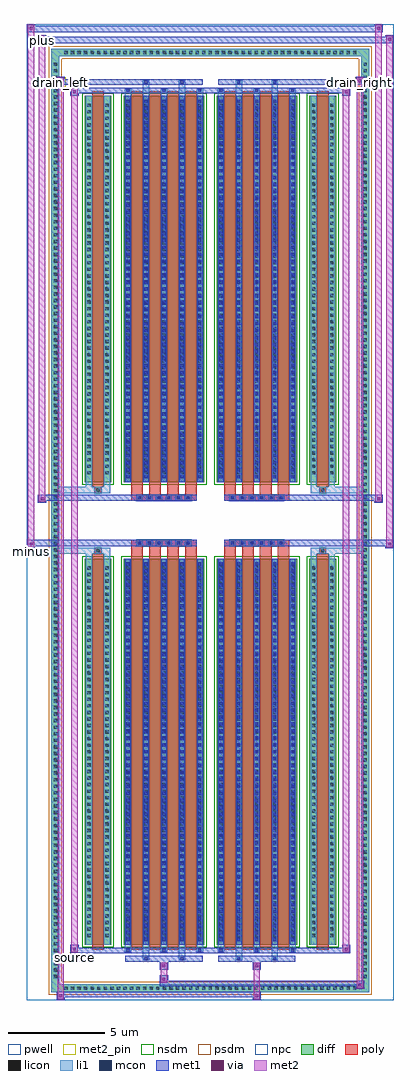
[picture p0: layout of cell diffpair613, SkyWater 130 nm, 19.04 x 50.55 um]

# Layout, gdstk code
import gdstk
lib = gdstk.Library(unit=1e-6, precision=5e-09)
def R(c, l, rs):  # rectangles x0, y0, x1, y1
    for r in rs: c.add(gdstk.rectangle(r[:2], r[2:], *l))
def A(c, l, x, y, w, h, nx, ny, dx, dy):  # array of equal rectangles
    R(c, l, [(x+i*dx, y+j*dy, x+i*dx+w, y+j*dy+h) for i in range(nx) for j in range(ny)])
def P(c, l, *ps):  # polygons
    for p in ps: c.add(gdstk.Polygon(p, *l))
pwell = (64, 44)
diff = (65, 20)
poly = (66, 20)
licon = (66, 44)
li1 = (67, 20)
mcon = (67, 44)
met1 = (68, 20)
via = (68, 44)
met2_pin = (69, 16)
met2 = (69, 20)
nsdm = (93, 44)
psdm = (94, 20)
npc = (95, 20)

diffpair613 = lib.new_cell('diffpair613')
R(diffpair613, pwell, [(-9.5,-24.84,9.5,25.71), (-6.82,-23.03,-0.01,-0.805), (0.01,-23.03,6.82,-0.805), (-6.82,0.805,-0.01,23.03), (0.01,0.805,6.82,23.03)])
A(diffpair613, diff, -7.685, -24.44, 0.41, 0.41, 45, 2, 0.34, 48.47)
A(diffpair613, diff, -8.23, -23.835, 0.41, 0.41, 1, 140, 0, 0.34)
A(diffpair613, diff, 7.82, -23.835, 0.41, 0.41, 1, 140, 0, 0.34)
R(diffpair613, diff, [(-7.685,-24.44,7.685,-24.03), (-8.23,-23.835,-7.82,23.835), (7.82,-23.835,8.23,23.835), (-6.51,-21.985,-5.13,-1.985), (-4.49,-21.985,-0.32,-1.985), (0.32,-21.985,4.49,-1.985), (5.13,-21.985,6.51,-1.985), (-6.51,1.985,-5.13,21.985), (-4.49,1.985,-0.32,21.985), (0.32,1.985,4.49,21.985), (5.13,1.985,6.51,21.985), (-7.685,24.03,7.685,24.44)])
P(diffpair613, diff, [(8.23,24.44),(-8.23,24.44),(-8.23,-24.03),(-7.82,-24.03),(-7.82,24.03),(7.82,24.03),(7.82,-24.03),(-7.82,-24.03),(-8.23,-24.03),(-8.23,-24.44),(8.23,-24.44)])
A(diffpair613, poly, -4.1, -22.235, 0.6, 20.5, 4, 2, 0.93, 23.97)
A(diffpair613, poly, 0.71, -22.235, 0.6, 20.5, 4, 2, 0.93, 23.97)
A(diffpair613, poly, -4.1, -1.735, 0.6, 0.4, 4, 2, 0.93, 3.07)
A(diffpair613, poly, 0.71, -1.735, 0.6, 0.4, 4, 2, 0.93, 3.07)
A(diffpair613, poly, -3.82, -1.335, 0.33, 0.33, 6, 2, 0.5, 2.34)
A(diffpair613, poly, 0.99, -1.335, 0.33, 0.33, 6, 2, 0.5, 2.34)
R(diffpair613, poly, [(-6.12,-22.235,-5.52,-1.735), (5.52,-22.235,6.12,-1.735), (-5.985,-1.735,-5.655,-1.405), (-5.985,-1.735,-5.655,-1.405), (5.655,-1.735,5.985,-1.405), (5.655,-1.735,5.985,-1.405), (-4.1,-1.335,-0.71,-1.005), (0.71,-1.335,4.1,-1.005), (-4.1,1.005,-0.71,1.335), (0.71,1.005,4.1,1.335), (-5.985,1.405,-5.655,1.735), (-5.985,1.405,-5.655,1.735), (5.655,1.405,5.985,1.735), (5.655,1.405,5.985,1.735), (-6.12,1.735,-5.52,22.235), (5.52,1.735,6.12,22.235)])
A(diffpair613, licon, -7.565, -24.32, 0.17, 0.17, 45, 2, 0.34, 48.47)
A(diffpair613, licon, -8.11, -23.715, 0.17, 0.17, 1, 140, 0, 0.34)
A(diffpair613, licon, 7.94, -23.715, 0.17, 0.17, 1, 140, 0, 0.34)
A(diffpair613, licon, -6.37, -21.59, 0.17, 0.17, 1, 57, 0, 0.34)
A(diffpair613, licon, -5.44, -21.59, 0.17, 0.17, 1, 57, 0, 0.34)
A(diffpair613, licon, -4.35, -21.59, 0.17, 0.17, 5, 57, 0.93, 0.34)
A(diffpair613, licon, 0.46, -21.59, 0.17, 0.17, 5, 57, 0.93, 0.34)
A(diffpair613, licon, 5.27, -21.59, 0.17, 0.17, 1, 57, 0, 0.34)
A(diffpair613, licon, 6.2, -21.59, 0.17, 0.17, 1, 57, 0, 0.34)
A(diffpair613, licon, -3.74, -1.255, 0.17, 0.17, 6, 2, 0.5, 2.34)
A(diffpair613, licon, 1.07, -1.255, 0.17, 0.17, 6, 2, 0.5, 2.34)
A(diffpair613, licon, -6.37, 2.38, 0.17, 0.17, 1, 57, 0, 0.34)
A(diffpair613, licon, -5.44, 2.38, 0.17, 0.17, 1, 57, 0, 0.34)
A(diffpair613, licon, -4.35, 2.38, 0.17, 0.17, 5, 57, 0.93, 0.34)
A(diffpair613, licon, 0.46, 2.38, 0.17, 0.17, 5, 57, 0.93, 0.34)
A(diffpair613, licon, 5.27, 2.38, 0.17, 0.17, 1, 57, 0, 0.34)
A(diffpair613, licon, 6.2, 2.38, 0.17, 0.17, 1, 57, 0, 0.34)
R(diffpair613, licon, [(-5.905,-1.655,-5.735,-1.485), (5.735,-1.655,5.905,-1.485), (-5.905,1.485,-5.735,1.655), (5.735,1.485,5.905,1.655)])
A(diffpair613, li1, -7.645, -24.4, 0.33, 0.33, 45, 2, 0.34, 48.47)
A(diffpair613, li1, -8.19, -23.795, 0.33, 0.33, 1, 140, 0, 0.34)
A(diffpair613, li1, 7.86, -23.795, 0.33, 0.33, 1, 140, 0, 0.34)
A(diffpair613, li1, -4.43, -22.36, 0.33, 0.375, 3, 2, 1.86, 44.345)
A(diffpair613, li1, -4.35, -22.36, 0.17, 0.17, 3, 2, 1.86, 44.55)
A(diffpair613, li1, 0.38, -22.36, 0.33, 0.375, 3, 2, 1.86, 44.345)
A(diffpair613, li1, 0.46, -22.36, 0.17, 0.17, 3, 2, 1.86, 44.55)
A(diffpair613, li1, -4.43, -21.985, 0.33, 20, 5, 2, 0.93, 23.97)
A(diffpair613, li1, 0.38, -21.985, 0.33, 20, 5, 2, 0.93, 23.97)
A(diffpair613, li1, -4.35, -21.79, 0.17, 0.17, 5, 55, 0.93, 0.36)
A(diffpair613, li1, -4.35, -21.79, 0.17, 19.61, 5, 2, 0.93, 23.97)
A(diffpair613, li1, 0.46, -21.79, 0.17, 0.17, 5, 55, 0.93, 0.36)
A(diffpair613, li1, 0.46, -21.79, 0.17, 19.61, 5, 2, 0.93, 23.97)
A(diffpair613, li1, -6.45, -21.67, 0.33, 0.33, 1, 57, 0, 0.34)
A(diffpair613, li1, -5.52, -21.67, 0.33, 0.33, 1, 57, 0, 0.34)
A(diffpair613, li1, -4.43, -21.67, 0.33, 0.33, 5, 57, 0.93, 0.34)
A(diffpair613, li1, 0.38, -21.67, 0.33, 0.33, 5, 57, 0.93, 0.34)
A(diffpair613, li1, 5.19, -21.67, 0.33, 0.33, 1, 57, 0, 0.34)
A(diffpair613, li1, 6.12, -21.67, 0.33, 0.33, 1, 57, 0, 0.34)
A(diffpair613, li1, -3.82, -1.335, 0.33, 0.33, 6, 2, 0.5, 2.34)
A(diffpair613, li1, 0.99, -1.335, 0.33, 0.33, 6, 2, 0.5, 2.34)
A(diffpair613, li1, -4.35, 2.18, 0.17, 0.17, 5, 55, 0.93, 0.36)
A(diffpair613, li1, 0.46, 2.18, 0.17, 0.17, 5, 55, 0.93, 0.36)
A(diffpair613, li1, -6.45, 2.3, 0.33, 0.33, 1, 57, 0, 0.34)
A(diffpair613, li1, -5.52, 2.3, 0.33, 0.33, 1, 57, 0, 0.34)
A(diffpair613, li1, -4.43, 2.3, 0.33, 0.33, 5, 57, 0.93, 0.34)
A(diffpair613, li1, 0.38, 2.3, 0.33, 0.33, 5, 57, 0.93, 0.34)
A(diffpair613, li1, 5.19, 2.3, 0.33, 0.33, 1, 57, 0, 0.34)
A(diffpair613, li1, 6.12, 2.3, 0.33, 0.33, 1, 57, 0, 0.34)
R(diffpair613, li1, [(-8.23,-24.44,-7.82,-24.03), (-8.23,-24.44,-7.82,-24.03), (-7.82,-24.44,7.82,-24.03), (7.82,-24.44,8.23,-24.03), (7.82,-24.44,8.23,-24.03), (-8.23,-24.03,-7.82,24.03), (7.82,-24.03,8.23,24.03), (-3.5,-22.79,-3.17,-21.985), (-3.42,-22.79,-3.25,-22.62), (-1.64,-22.79,-1.31,-21.985), (-1.56,-22.79,-1.39,-22.62), (1.31,-22.79,1.64,-21.985), (1.39,-22.79,1.56,-22.62), (3.17,-22.79,3.5,-21.985), (3.25,-22.79,3.42,-22.62), (-6.45,-21.985,-6.12,-1.985), (-5.52,-21.985,-5.19,-1.985), (5.19,-21.985,5.52,-1.985), (6.12,-21.985,6.45,-1.985), (-6.45,-1.985,-6.12,-1.405), (-5.52,-1.985,-5.19,-1.405), (5.19,-1.985,5.52,-1.405), (6.12,-1.985,6.45,-1.405), (-8.23,-1.735,-5.985,-1.405), (-6.45,-1.735,-5.985,-1.405), (-5.985,-1.735,-5.655,-1.405), (-5.655,-1.735,-5.19,-1.405), (5.19,-1.735,5.655,-1.405), (5.655,-1.735,5.985,-1.405), (5.655,-1.735,8.23,-1.405), (5.985,-1.735,6.45,-1.405), (-8.23,1.405,-5.985,1.735), (-6.45,1.405,-5.985,1.735), (-6.45,1.405,-6.12,1.985), (-5.985,1.405,-5.655,1.735), (-5.655,1.405,-5.19,1.735), (-5.52,1.405,-5.19,1.985), (5.19,1.405,5.655,1.735), (5.19,1.405,5.52,1.985), (5.655,1.405,5.985,1.735), (5.655,1.405,8.23,1.735), (5.985,1.405,6.45,1.735), (6.12,1.405,6.45,1.985), (-6.45,1.985,-6.12,21.985), (-5.52,1.985,-5.19,21.985), (5.19,1.985,5.52,21.985), (6.12,1.985,6.45,21.985), (-3.5,21.985,-3.17,22.79), (-1.64,21.985,-1.31,22.79), (1.31,21.985,1.64,22.79), (3.17,21.985,3.5,22.79), (-3.42,22.62,-3.25,22.79), (-1.56,22.62,-1.39,22.79), (1.39,22.62,1.56,22.79), (3.25,22.62,3.42,22.79), (-8.23,24.03,-7.82,24.44), (-8.23,24.03,-7.82,24.44), (-7.82,24.03,7.82,24.44), (7.82,24.03,8.23,24.44), (7.82,24.03,8.23,24.44)])
A(diffpair613, mcon, -4.35, -22.36, 0.17, 0.17, 3, 2, 1.86, 44.55)
A(diffpair613, mcon, 0.46, -22.36, 0.17, 0.17, 3, 2, 1.86, 44.55)
A(diffpair613, mcon, -4.35, -21.79, 0.17, 0.17, 5, 55, 0.93, 0.36)
A(diffpair613, mcon, 0.46, -21.79, 0.17, 0.17, 5, 55, 0.93, 0.36)
A(diffpair613, mcon, -3.74, -1.255, 0.17, 0.17, 6, 2, 0.5, 2.34)
A(diffpair613, mcon, 1.07, -1.255, 0.17, 0.17, 6, 2, 0.5, 2.34)
A(diffpair613, mcon, -4.35, 2.18, 0.17, 0.17, 5, 55, 0.93, 0.36)
A(diffpair613, mcon, 0.46, 2.18, 0.17, 0.17, 5, 55, 0.93, 0.36)
R(diffpair613, mcon, [(-3.42,-22.79,-3.25,-22.62), (-1.56,-22.79,-1.39,-22.62), (1.39,-22.79,1.56,-22.62), (3.25,-22.79,3.42,-22.62), (-3.42,22.62,-3.25,22.79), (-1.56,22.62,-1.39,22.79), (1.39,22.62,1.56,22.79), (3.25,22.62,3.42,22.79)])
A(diffpair613, met1, -4.41, -22.42, 0.29, 0.29, 3, 2, 1.86, 44.55)
A(diffpair613, met1, 0.4, -22.42, 0.29, 0.29, 3, 2, 1.86, 44.55)
A(diffpair613, met1, -4.41, -21.985, 0.29, 20, 5, 2, 0.93, 23.97)
A(diffpair613, met1, 0.4, -21.985, 0.29, 20, 5, 2, 0.93, 23.97)
A(diffpair613, met1, -4.41, -21.85, 0.29, 0.29, 5, 55, 0.93, 0.36)
A(diffpair613, met1, 0.4, -21.85, 0.29, 0.29, 5, 55, 0.93, 0.36)
A(diffpair613, met1, -3.8, -1.315, 0.29, 0.29, 6, 2, 0.5, 2.34)
A(diffpair613, met1, 1.01, -1.315, 0.29, 0.29, 6, 2, 0.5, 2.34)
A(diffpair613, met1, -4.41, 2.12, 0.29, 0.29, 5, 55, 0.93, 0.36)
A(diffpair613, met1, 0.4, 2.12, 0.29, 0.29, 5, 55, 0.93, 0.36)
R(diffpair613, met1, [(-7.96,-24.84,-7.53,-24.41), (2.19,-24.84,2.62,-24.41), (-7.96,-24.7,2.62,-24.41), (7.53,-24.27,7.96,-23.84), (-2.62,-24.13,7.96,-23.84), (-2.62,-23.99,-2.19,-23.56), (-2.62,-23.28,-2.19,-22.85), (2.19,-23.28,2.62,-22.85), (-4.41,-22.85,-0.4,-22.56), (-3.48,-22.85,-3.19,-22.56), (-1.62,-22.85,-1.33,-22.56), (0.4,-22.85,4.41,-22.56), (1.33,-22.85,1.62,-22.56), (3.19,-22.85,3.48,-22.56), (-7.25,-22.42,-6.82,-21.99), (-7.25,-22.42,-4.41,-22.13), (-4.41,-22.42,-0.4,-22.13), (-0.4,-22.42,0.4,-22.13), (0.4,-22.42,4.41,-22.13), (4.41,-22.42,7.25,-22.13), (6.82,-22.42,7.25,-21.99), (-9.5,-1.435,-9.07,-1.005), (9.07,-1.435,9.5,-1.005), (-9.5,-1.335,-0.71,-1.005), (-4.1,-1.335,-0.71,-1.005), (0.71,-1.335,4.1,-1.005), (0.71,-1.335,9.5,-1.005), (-8.93,0.905,-8.5,1.335), (8.5,0.905,8.93,1.335), (-8.93,1.005,-4.1,1.335), (-4.1,1.005,-0.71,1.335), (0.71,1.005,4.1,1.335), (4.1,1.005,8.93,1.335), (-7.25,21.99,-6.82,22.42), (6.82,21.99,7.25,22.42), (-7.25,22.13,-4.41,22.42), (-4.41,22.13,-0.4,22.42), (-0.4,22.13,0.4,22.42), (0.4,22.13,4.41,22.42), (4.41,22.13,7.25,22.42), (-7.96,22.56,-7.53,22.99), (-7.96,22.56,-4.41,22.85), (-4.41,22.56,-0.4,22.85), (-3.48,22.56,-3.19,22.85), (-1.62,22.56,-1.33,22.85), (0.4,22.56,4.41,22.85), (1.33,22.56,1.62,22.85), (3.19,22.56,3.48,22.85), (4.41,22.56,7.96,22.85), (7.53,22.56,7.96,22.99), (-8.93,24.71,-8.5,25.14), (-8.93,24.71,-6.82,25.04), (-6.82,24.71,6.82,25.04), (6.82,24.71,9.5,25.04), (9.07,24.71,9.5,25.14), (-9.5,25.28,-9.07,25.71), (-9.5,25.28,-6.82,25.61), (-6.82,25.28,6.82,25.61), (6.82,25.28,8.93,25.61), (8.5,25.28,8.93,25.71)])
R(diffpair613, via, [(-7.82,-24.7,-7.67,-24.55), (2.33,-24.7,2.48,-24.55), (7.67,-24.13,7.82,-23.98), (-2.48,-23.85,-2.33,-23.7), (-2.48,-23.14,-2.33,-22.99), (2.33,-23.14,2.48,-22.99), (-7.11,-22.28,-6.96,-22.13), (6.96,-22.28,7.11,-22.13), (-9.36,-1.295,-9.21,-1.145), (9.21,-1.295,9.36,-1.145), (-8.79,1.045,-8.64,1.195), (8.64,1.045,8.79,1.195), (-7.11,22.13,-6.96,22.28), (6.96,22.13,7.11,22.28), (-7.82,22.7,-7.67,22.85), (7.67,22.7,7.82,22.85), (-8.79,24.85,-8.64,25), (9.21,24.85,9.36,25), (-9.36,25.42,-9.21,25.57), (8.64,25.42,8.79,25.57)])
R(diffpair613, met2_pin, [(-7.285,-22.87,-6.785,-22.37), (-9.535,-1.885,-9.035,-1.385), (-7.995,22.44,-7.495,22.94), (7.495,22.44,7.995,22.94), (-8.965,24.59,-8.465,25.09)])
R(diffpair613, met2, [(-7.91,-24.79,-7.58,-24.46), (-7.91,-24.79,-7.58,22.94), (2.24,-24.79,2.57,-24.46), (2.24,-24.46,2.57,-23.23), (7.58,-24.22,7.91,-23.89), (7.58,-24.22,7.91,22.94), (-2.57,-23.94,-2.24,-23.61), (-2.57,-23.61,-2.24,-23.23), (-2.57,-23.23,-2.24,-22.9), (2.24,-23.23,2.57,-22.9), (-7.2,-22.37,-6.87,-22.04), (-7.2,-22.37,-6.87,22.37), (6.87,-22.37,7.2,-22.04), (6.87,-22.37,7.2,22.37), (-9.45,-1.385,-9.12,-1.055), (-9.45,-1.385,-9.12,25.66), (9.12,-1.385,9.45,-1.055), (9.12,-1.385,9.45,25.09), (-8.88,0.955,-8.55,1.285), (-8.88,0.955,-8.55,25.09), (8.55,0.955,8.88,1.285), (8.55,0.955,8.88,25.66), (-7.2,22.04,-6.87,22.37), (6.87,22.04,7.2,22.37), (-7.91,22.61,-7.58,22.94), (7.58,22.61,7.91,22.94), (-8.88,24.76,-8.55,25.09), (9.12,24.76,9.45,25.09), (-9.45,25.33,-9.12,25.66), (8.55,25.33,8.88,25.66)])
P(diffpair613, met2, [(9.45,-1.385),(9.45,-1.385),(9.45,-1.055),(9.45,-1.055)],
  [(9.45,24.76),(9.45,24.76),(9.45,25.09),(9.45,25.09)],
  [(-9.12,-1.385),(-9.12,-1.385),(-9.12,-1.055),(-9.12,-1.055)],
  [(-9.12,25.33),(-9.12,25.33),(-9.12,25.66),(-9.12,25.66)],
  [(8.88,0.955),(8.88,0.955),(8.88,1.285),(8.88,1.285)],
  [(8.88,25.33),(8.88,25.33),(8.88,25.66),(8.88,25.66)],
  [(-8.55,0.955),(-8.55,0.955),(-8.55,1.285),(-8.55,1.285)],
  [(-8.55,24.76),(-8.55,24.76),(-8.55,25.09),(-8.55,25.09)],
  [(-7.58,-24.79),(-7.58,-24.79),(-7.58,-24.46),(-7.58,-24.46)],
  [(-7.58,22.61),(-7.58,22.61),(-7.58,22.94),(-7.58,22.94)],
  [(7.91,-24.22),(7.91,-24.22),(7.91,-23.89),(7.91,-23.89)],
  [(7.91,22.61),(7.91,22.61),(7.91,22.94),(7.91,22.94)],
  [(-6.87,-22.37),(-6.87,-22.37),(-6.87,-22.04),(-6.87,-22.04)],
  [(-6.87,22.04),(-6.87,22.04),(-6.87,22.37),(-6.87,22.37)],
  [(7.2,-22.37),(7.2,-22.37),(7.2,-22.04),(7.2,-22.04)],
  [(7.2,22.04),(7.2,22.04),(7.2,22.37),(7.2,22.37)])
R(diffpair613, nsdm, [(-6.64,-22.115,-5,-1.855), (-4.62,-22.115,-0.19,-1.855), (0.19,-22.115,4.62,-1.855), (5,-22.115,6.64,-1.855), (-6.64,1.855,-5,22.115), (-4.62,1.855,-0.19,22.115), (0.19,1.855,4.62,22.115), (5,1.855,6.64,22.115)])
P(diffpair613, psdm, [(8.36,24.57),(-8.36,24.57),(-8.36,-23.9),(-7.69,-23.9),(-7.69,23.9),(7.69,23.9),(7.69,-23.9),(-7.69,-23.9),(-8.36,-23.9),(-8.36,-24.57),(8.36,-24.57)])
A(diffpair613, npc, -3.84, -1.355, 0.37, 0.37, 6, 2, 0.5, 2.34)
A(diffpair613, npc, 0.97, -1.355, 0.37, 0.37, 6, 2, 0.5, 2.34)
R(diffpair613, npc, [(-6.005,-1.755,-5.635,-1.385), (5.635,-1.755,6.005,-1.385), (-3.84,-1.355,-2.97,-0.985), (-3.84,-1.355,-2.97,-0.985), (-3.34,-1.355,-2.47,-0.985), (-3.34,-1.355,-2.47,-0.985), (-2.84,-1.355,-1.97,-0.985), (-2.84,-1.355,-1.97,-0.985), (-2.34,-1.355,-1.47,-0.985), (-2.34,-1.355,-1.47,-0.985), (-1.84,-1.355,-0.97,-0.985), (-1.84,-1.355,-0.97,-0.985), (0.97,-1.355,1.84,-0.985), (0.97,-1.355,1.84,-0.985), (1.47,-1.355,2.34,-0.985), (1.47,-1.355,2.34,-0.985), (1.97,-1.355,2.84,-0.985), (1.97,-1.355,2.84,-0.985), (2.47,-1.355,3.34,-0.985), (2.47,-1.355,3.34,-0.985), (2.97,-1.355,3.84,-0.985), (2.97,-1.355,3.84,-0.985), (-3.84,0.985,-2.97,1.355), (-3.84,0.985,-2.97,1.355), (-3.34,0.985,-2.47,1.355), (-3.34,0.985,-2.47,1.355), (-2.84,0.985,-1.97,1.355), (-2.84,0.985,-1.97,1.355), (-2.34,0.985,-1.47,1.355), (-2.34,0.985,-1.47,1.355), (-1.84,0.985,-0.97,1.355), (-1.84,0.985,-0.97,1.355), (0.97,0.985,1.84,1.355), (0.97,0.985,1.84,1.355), (1.47,0.985,2.34,1.355), (1.47,0.985,2.34,1.355), (1.97,0.985,2.84,1.355), (1.97,0.985,2.84,1.355), (2.47,0.985,3.34,1.355), (2.47,0.985,3.34,1.355), (2.97,0.985,3.84,1.355), (2.97,0.985,3.84,1.355), (-6.005,1.385,-5.635,1.755), (5.635,1.385,6.005,1.755)])
diffpair613.add(gdstk.Label('minus', (-9.285,-1.635), layer=69, texttype=5))
diffpair613.add(gdstk.Label('drain_right', (7.745,22.69), layer=69, texttype=5))
diffpair613.add(gdstk.Label('drain_left', (-7.745,22.69), layer=69, texttype=5))
diffpair613.add(gdstk.Label('source', (-7.035,-22.62), layer=69, texttype=5))
diffpair613.add(gdstk.Label('plus', (-8.715,24.84), layer=69, texttype=5))

lib.write_gds('diffpair613.gds')
